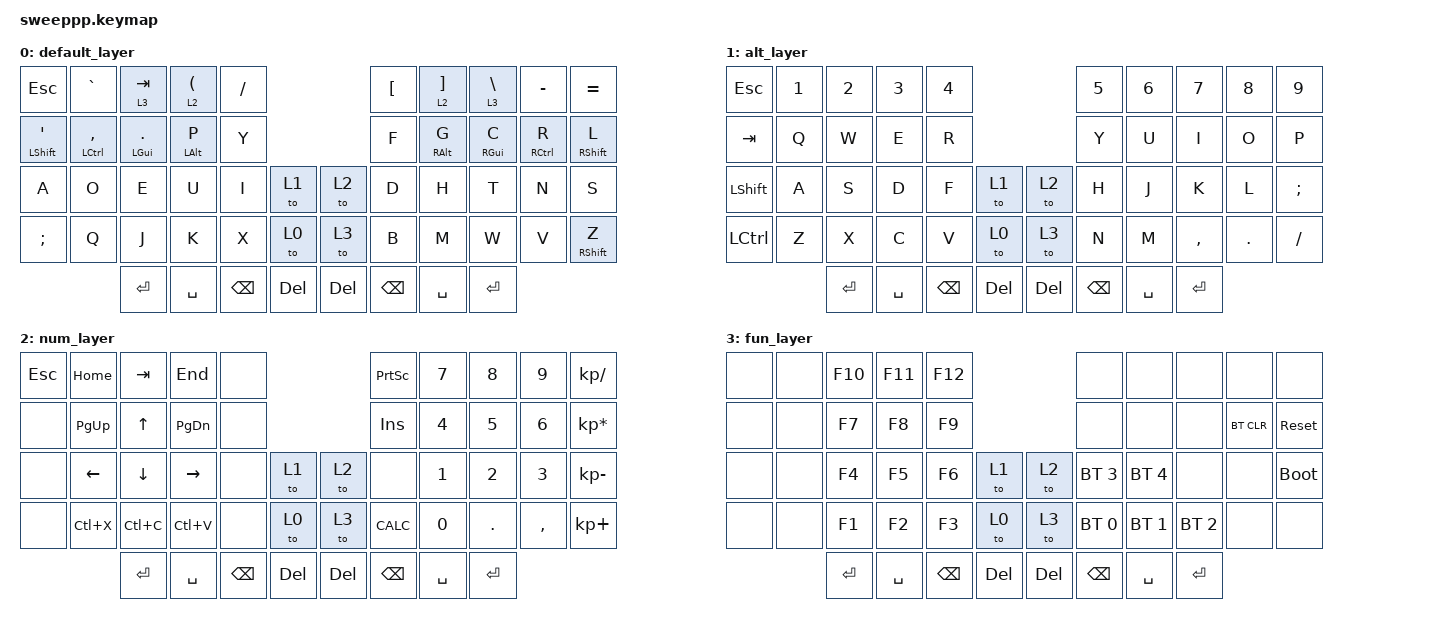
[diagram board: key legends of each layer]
#include <behaviors.dtsi>
#include <dt-bindings/zmk/keys.h>
#include <dt-bindings/zmk/bt.h>

&nice_view_spi {
    cs-gpios = <&pro_micro 2 GPIO_ACTIVE_HIGH>;
};

/ {
    keymap {
        compatible = "zmk,keymap";

        default_layer {
            bindings = <
        //╭───────────────┬─────────────────┬─────────────┬───────────┬──────────╮                         ╭──────────┬───────────┬───────────┬────────────┬────────────╮
        //│ ESC           │ `~              │ TAB         │ (         │ /?       │                         │ [{       │ }]        │ \|        │ -_         │ =+         │
            &kp ESC         &kp GRAVE         &lt 3 TAB     &lt 2 LPAR  &kp FSLH                             &kp LBKT   &lt 2 RBKT  &lt 3 BSLH  &kp MINUS    &kp EQUAL
        //├───────────────┼─────────────────┼─────────────┼───────────┼──────────┤                         ├──────────┼───────────┼───────────┼────────────┼────────────┤
        //│ '"            │ ,<              │ .> (Fun)    │ P (Num)   │ Y        │                         │ F        │ G (Num)   │ C (Fun)   │ R          │ L          │
            &mt LSHFT SQT   &mt LCTRL COMMA   &mt LGUI DOT  &mt LALT P  &kp Y                                &kp F      &mt RALT G  &mt RGUI C  &mt RCTRL R  &mt RSHFT L
        //├───────────────┼─────────────────┼─────────────┼───────────┼──────────┼──────────╮   ╭──────────┼──────────┼───────────┼───────────┼────────────┼────────────┤
        //│ A             │ O               │ E           │ U         │ I        │ ALT      │   │ NUM      │ D        │ H         │ T         │ N          │ S          │
            &kp A           &kp O             &kp E         &kp U       &kp I      &to 1          &to 2      &kp D      &kp H       &kp T       &kp N        &kp S
        //├───────────────┼─────────────────┼─────────────┼───────────┼──────────┼──────────┤   ├──────────┼──────────┼───────────┼───────────┼────────────┼────────────┤
        //│ ;: (Shft)     │ Q (Ctrl)        │ J (Win)     │ K (Alt)   │ X        │ DEF      │   │ FUN      │ B        │ M (Alt)   │ W (Win)   │ V (Ctrl)   │ Z (Shft)   │
            &kp SEMI        &kp Q             &kp J         &kp K       &kp X      &to 0          &to 3      &kp B      &kp M       &kp W       &kp V        &mt RSHFT Z
        //╰───────────────┴─────────────────┼─────────────┼───────────┼──────────┼──────────┤   ├──────────┼──────────┼───────────┼───────────┼────────────┴────────────╯
        //                                  │ ENTER       │ SPACE     │ BACKSPACE│ DEL      │   │ DEL      │ BACKSPACE│ SPACE     │ ENTER     │
                                              &kp ENTER     &kp SPACE   &kp BSPC   &kp DEL        &kp DEL    &kp BSPC   &kp SPACE   &kp ENTER 
        //                                  ╰─────────────┴───────────┴──────────┴──────────╯   ╰──────────┴──────────┴───────────┴───────────╯
            >;
        };

        alt_layer {
            bindings = <
        //╭──────────┬──────────┬─────────┬──────────┬──────────╮                         ╭──────────┬──────────┬──────────┬──────────┬──────────╮
        //│ ESC      │ 1        │ 2       │ 3        │ 4        │                         │ 5        │ 6        │ 7        │ 8        │ 9        │
            &kp ESC    &kp N1      &kp N2    &kp N3     &kp N4                              &kp 5      &kp 6      &kp 7      &kp 8      &kp 9
        //├──────────┼──────────┼─────────┼──────────┼──────────┤                         ├──────────┼──────────┼──────────┼──────────┼──────────┤
        //│ TAB      │ Q        │ W       │ E        │ R        │                         │ Y        │ U        │ I        │ O        │ P        │
            &kp TAB    &kp Q       &kp W     &kp E      &kp R                                &kp Y      &kp U      &kp I     &kp O      &kp P 
        //├──────────┼──────────┼─────────┼──────────┼──────────┼──────────╮   ╭──────────┼──────────┼──────────┼──────────┼──────────┼──────────┤
        //│ SHIFT    │ A        │ S       │ D        │ F        │ ALT      │   │ NUM      │ H        │ J        │ K        │ L        │ ;:       │
            &kp LSHFT  &kp A       &kp S     &kp D      &kp F      &to 1          &to 2      &kp H      &kp J      &kp K     &kp L      &kp SEMI
        //├──────────┼──────────┼─────────┼──────────┼──────────┼──────────┤   ├──────────┼──────────┼──────────┼──────────┼──────────┼──────────┤
        //│ CTRL     │ Z        │ X       │ C        │ V        │ DEF      │   │ FUN      │ N        │ M        │ ,<       │ .>       │ /?       │
            &kp LCTRL  &kp Z       &kp X     &kp C      &kp V      &to 0          &to 3      &kp N      &kp M      &kp COMMA &kp DOT    &kp FSLH
        //╰──────────┴──────────┼─────────┼──────────┼──────────┼──────────┤   ├──────────┼──────────┼──────────┼──────────┼──────────┴──────────╯
        //                      │ ENTER   │ SPACE    │ BACKSPACE│ DEL      │   │ DEL      │ BACKSPACE│ SPACE    │ ENTER    │
                                  &kp ENTER &kp SPACE  &kp BSPC   &kp DEL        &kp DEL    &kp BSPC   &kp SPACE  &kp ENTER 
        //                      ╰─────────┴──────────┴──────────┴──────────╯   ╰──────────┴──────────┴──────────┴──────────╯
            >;
        };

        num_layer {
            bindings = <
        //╭──────────┬──────────┬──────────┬──────────┬──────────╮                         ╭───────────┬──────────┬──────────┬──────────┬────────────────╮
        //│ ESC      │ HOME     │ TAB      │ END      │          │                         │ PRTSC     │ 7 &      │ 8 *      │ 9 (      │ /              │
            &kp ESC    &kp HOME   &kp TAB    &kp END    &none                                &kp PSCRN   &kp N7     &kp N8     &kp N9     &kp KP_SLASH    
        //├──────────┼──────────┼──────────┼──────────┼──────────┤                         ├───────────┼──────────┼──────────┼──────────┼────────────────┤
        //│          │ PGUP     │ ^        │ PGDN     │          │                         │ INS       │ 4 $      │ 5 %      │ 6 ^      │ *              │
            &none      &kp PG_UP  &kp UP     &kp PG_DN  &none                                &kp INS     &kp N4     &kp N5     &kp N6     &kp KP_MULTIPLY 
        //├──────────┼──────────┼──────────┼──────────┼──────────┼──────────╮   ╭──────────┼───────────┼──────────┼──────────┼──────────┼────────────────┤
        //│          │ <        │ v        │ >        │          │ ALT      │   │ NUM      │           │ 1 !      │ 2 @      │ 3 #      │ -              │
            &none      &kp LEFT   &kp DOWN   &kp RIGHT  &none      &to 1          &to 2      &none       &kp N1     &kp N2     &kp N3     &kp KP_MINUS    
        //├──────────┼──────────┼──────────┼──────────┼──────────┼──────────┤   ├──────────┼───────────┼──────────┼──────────┼──────────┼────────────────┤
        //│          │ CUT      │ COPY     │ PASTE    │          │ DEF      │   │ FUN      │ CALC      │ 0 )      │ . >      │ , <      │ +              │
            &none      &kp LC(X)  &kp LC(C)  &kp LC(V)  &none      &to 0          &to 3      &kp K_CALC  &kp N0     &kp DOT    &kp COMMA  &kp KP_PLUS     
        //╰──────────┴──────────┼──────────┼──────────┼──────────┼──────────┤   ├──────────┼───────────┼──────────┼──────────┬──────────┴────────────────╯
        //                      │ ENTER    │ SPACE    │ BACKSPACE│ DEL      │   │ DEL      │ BACKSPACE │ SPACE    │ ENTER    │
                                  &kp ENTER  &kp SPACE  &kp BSPC   &kp DEL        &kp DEL    &kp BSPC    &kp SPACE  &kp ENTER 
        //                      ╰──────────┴──────────┴──────────┴──────────╯   ╰──────────┴───────────┴──────────┴──────────╯
            >;
        };

        fun_layer {
            bindings = <
        //╭──────────┬──────────┬──────────┬──────────┬──────────╮                         ╭───────────┬───────────┬───────────┬──────────┬──────────╮
        //│          │          │ F10      │ F11      │ F12      │                         │           │           │           │          │          │
            &none      &none      &kp F10    &kp F11    &kp F12                              &none       &none       &none       &none      &none
        //├──────────┼──────────┼──────────┼──────────┼──────────┤                         ├───────────┼───────────┼───────────┼──────────┼──────────┤
        //│          │          │ F7       │ F8       │ F9       │                         │           │           │           │ CLR      │ RST      │
            &none      &none      &kp F7     &kp F8     &kp F9                               &none       &none       &none       &bt BT_CLR &sys_reset
        //├──────────┼──────────┼──────────┼──────────┼──────────┼──────────╮   ╭──────────┼───────────┼───────────┼───────────┼──────────┼──────────┤
        //│          │          │ F4       │ F5       │ F6       │ ALT      │   │ NUM      │ BT 3      │ BT 4      │           │          │ BOOT     │
            &none      &none      &kp F4     &kp F5     &kp F6     &to 1          &to 2    &bt BT_SEL 3 &bt BT_SEL 4 &none       &none      &bootloader
        //├──────────┼──────────┼──────────┼──────────┼──────────┼──────────┤   ├──────────┼───────────┼───────────┼───────────┼──────────┼──────────┤
        //│          │          │ F1       │ F2       │ F3       │ DEF      │   │ FUN      │ BT 0      │ BT 1      │ BT 2      │          │          │
            &none      &none      &kp F1     &kp F2     &kp F3     &to 0          &to 3    &bt BT_SEL 0 &bt BT_SEL 1 &bt BT_SEL 2 &none     &none
        //╰──────────┴──────────┼──────────┼──────────┼──────────┼──────────┤   ├──────────┼───────────┼───────────┼───────────┼──────────┴──────────╯
        //                      │ ENTER    │ SPACE    │ BACKSPACE│ DEL      │   │ DEL      │ BACKSPACE │ SPACE     │ ENTER     │
                                  &kp ENTER  &kp SPACE  &kp BSPC   &kp DEL        &kp DEL    &kp BSPC    &kp SPACE   &kp ENTER 
        //                      ╰──────────┴──────────┴──────────┴──────────╯   ╰──────────┴───────────┴───────────┴───────────╯
            >;
        };
    };
 };
